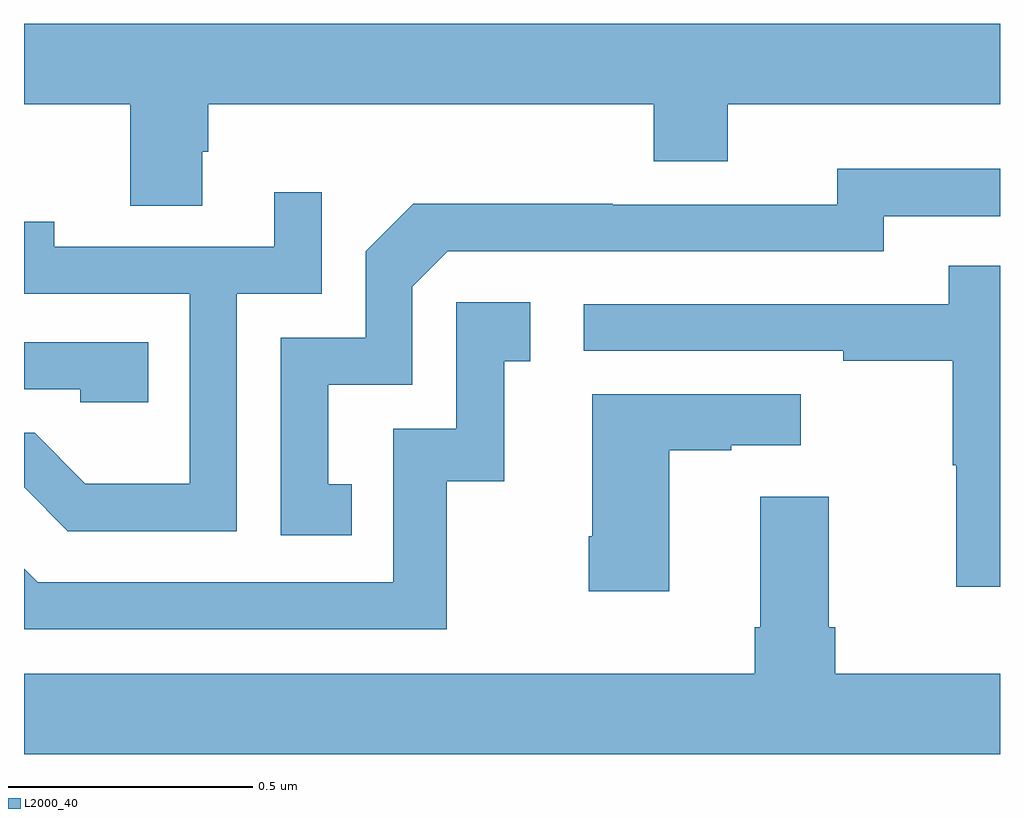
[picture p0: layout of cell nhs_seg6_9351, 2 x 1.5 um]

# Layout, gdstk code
import gdstk
lib = gdstk.Library(unit=1e-6, precision=1e-09)
def P(c, l, *ps):  # polygons
    for p in ps: c.add(gdstk.Polygon(p, *l))
L2000_40 = (2000, 40)

nhs_seg6_9351 = lib.new_cell('nhs_seg6_9351')
P(nhs_seg6_9351, L2000_40, [(233.365,921.93),(233.378,921.93),(233.378,922.028),(234.29,922.028),(234.29,921.911),(234.442,921.911),(234.442,922.028),(235,922.028),(235,922.192),(233,922.192),(233,922.028),(233.218,922.028),(233.218,921.82),(233.365,921.82)],
  [(233.672,921.249),(233.623,921.249),(233.623,921.453),(233.796,921.453),(233.796,921.654),(233.868,921.726),(234.762,921.726),(234.762,921.798),(235,921.798),(235,921.895),(234.666,921.895),(234.666,921.822),(234.206,921.822),(234.206,921.824),(233.798,921.824),(233.7,921.726),(233.7,921.549),(233.526,921.549),(233.526,921.144),(233.672,921.144)],
  [(233.436,921.639),(233.61,921.639),(233.61,921.847),(233.513,921.847),(233.513,921.735),(233.062,921.735),(233.062,921.787),(233,921.787),(233,921.639),(233.34,921.639),(233.34,921.25),(233.126,921.25),(233.022,921.354),(233,921.354),(233,921.243),(233.09,921.153),(233.436,921.153)],
  [(235,921.697),(234.895,921.697),(234.895,921.618),(234.147,921.618),(234.147,921.522),(234.679,921.522),(234.679,921.502),(234.903,921.502),(234.903,921.288),(234.91,921.288),(234.91,921.039),(235,921.039)],
  [(233.866,921.255),(233.984,921.255),(233.984,921.501),(234.037,921.501),(234.037,921.622),(233.886,921.622),(233.886,921.363),(233.757,921.363),(233.757,921.048),(233.028,921.048),(233,921.076),(233,920.952),(233.866,920.952)],
  [(233.255,921.54),(233,921.54),(233,921.444),(233.115,921.444),(233.115,921.417),(233.255,921.417)],
  [(234.322,921.319),(234.449,921.319),(234.449,921.329),(234.592,921.329),(234.592,921.433),(234.164,921.433),(234.164,921.142),(234.157,921.142),(234.157,921.03),(234.322,921.03)],
  [(235,920.86),(234.662,920.86),(234.662,920.956),(234.649,920.956),(234.649,921.223),(234.509,921.223),(234.509,920.956),(234.497,920.956),(234.497,920.86),(233,920.86),(233,920.696),(235,920.696)])

lib.write_gds('nhs_seg6_9351.gds')
